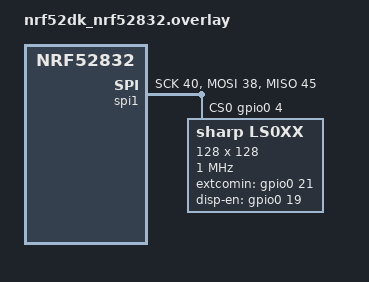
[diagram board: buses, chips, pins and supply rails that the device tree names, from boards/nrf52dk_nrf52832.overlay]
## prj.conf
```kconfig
CONFIG_GPIO=y
# Display driver
CONFIG_SPI=y
CONFIG_DISPLAY=y
CONFIG_LS0XX=y
CONFIG_LOG=y
CONFIG_DISPLAY_LOG_LEVEL_DBG=y
```

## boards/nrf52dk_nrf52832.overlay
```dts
&spi1 {
	compatible = "nordic,nrf-spim";
	status = "okay";
	sck-pin = <40>;

	miso-pin = <45>;
	miso-pull-up;

	mosi-pin = <38>;

	cs-gpios = <&gpio0 4 GPIO_ACTIVE_HIGH>; /* Display */

	ls0xx@0 {
		compatible = "sharp,ls0xx";
		label = "LS0XX";
		spi-max-frequency = <1000000>;
		reg = <0>;
		width = <128>;
		height = <128>;
		extcomin-gpios = <&gpio0 21 GPIO_ACTIVE_HIGH>;
		extcomin-frequency = <60>;
		disp-en-gpios = <&gpio0 19 GPIO_ACTIVE_HIGH>;
	};
};
```

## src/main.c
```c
#include <zephyr.h>
#include <device.h>
#include <devicetree.h>
#include <drivers/gpio.h>
#include <string.h>
#include <drivers/display.h>

/* 1000 msec = 1 sec */
#define SLEEP_TIME_MS   1000

struct display_buffer_descriptor disp_desc = {
	/** Data buffer size in bytes */
	.buf_size = 128 * 16,
	/** Data buffer row width in pixels */
	.width = 128,
	/** Data buffer column height in pixels */
	.height = 128,
	/** Number of pixels between consecutive rows in the data buffer */
	.pitch = 128,
};

uint8_t buf[128*16] = {0};

void main(void)
{
	const struct device *display_dev;
	display_dev = device_get_binding("LS0XX");

	uint8_t data = 0xa0;

	display_blanking_off(display_dev);

	while(1) {
		if(data)
			data = 0;
		else
			data = 0xa0;

		memset(buf, data, sizeof(buf));

		printk("Write\n");
		display_write(display_dev, 0, 0, &disp_desc, buf);
		k_msleep(500);
	}
}
```
